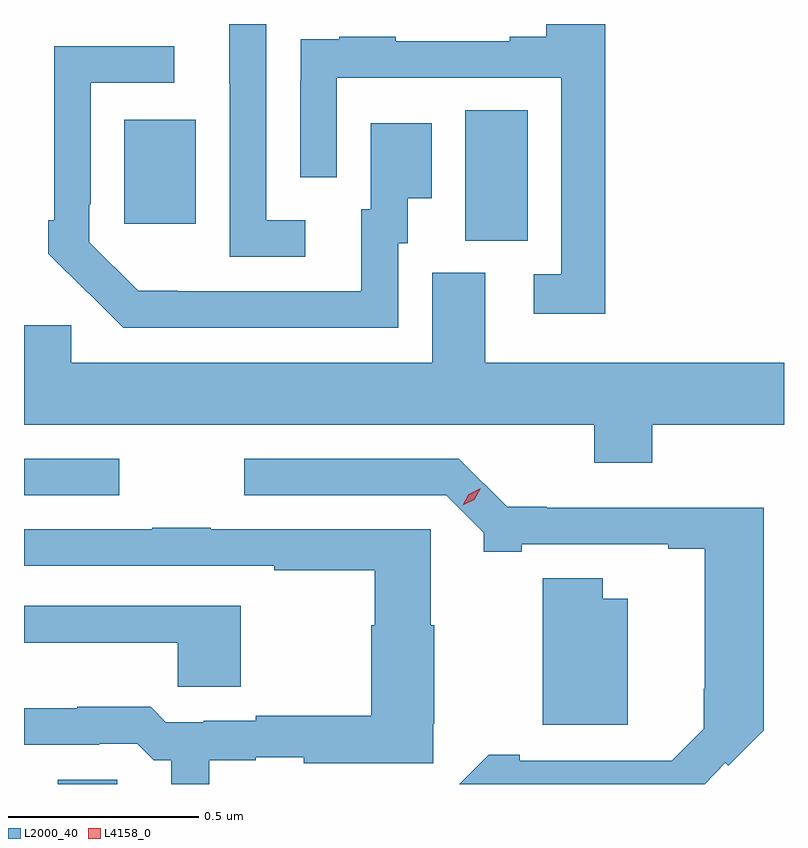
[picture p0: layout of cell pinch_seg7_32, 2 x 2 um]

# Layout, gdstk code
import gdstk
lib = gdstk.Library(unit=1e-6, precision=1e-09)
def R(c, l, rs):  # rectangles x0, y0, x1, y1
    for r in rs: c.add(gdstk.rectangle(r[:2], r[2:], *l))
def P(c, l, *ps):  # polygons
    for p in ps: c.add(gdstk.Polygon(p, *l))
L2000_40 = (2000, 40)
L4158_0 = (4158, 0)

pinch_seg7_32 = lib.new_cell('pinch_seg7_32')
R(pinch_seg7_32, L2000_40, [(1061.836,1058.279,1061.992,1058.29), (1061.747,1059.039,1061.998,1059.135), (1062.908,1059.709,1063.072,1060.052), (1062.011,1059.753,1062.199,1060.027)])
P(pinch_seg7_32, L2000_40, [(1063.277,1060.279),(1063.121,1060.279),(1063.121,1060.246),(1063.025,1060.246),(1063.025,1060.233),(1062.725,1060.233),(1062.725,1060.246),(1062.577,1060.246),(1062.577,1060.239),(1062.475,1060.239),(1062.475,1060.13),(1062.474,1060.13),(1062.474,1059.876),(1062.57,1059.876),(1062.57,1060.137),(1063.161,1060.137),(1063.161,1059.621),(1063.089,1059.621),(1063.089,1059.516),(1063.277,1059.516)],
  [(1062.487,1059.762),(1062.384,1059.762),(1062.384,1060.279),(1062.287,1060.279),(1062.287,1060.123),(1062.288,1060.123),(1062.288,1059.666),(1062.487,1059.666)],
  [(1062.732,1059.702),(1062.757,1059.702),(1062.757,1059.821),(1062.82,1059.821),(1062.82,1060.018),(1062.659,1060.018),(1062.659,1059.792),(1062.635,1059.792),(1062.635,1059.576),(1062.151,1059.576),(1062.151,1059.577),(1062.048,1059.577),(1061.919,1059.705),(1061.919,1059.805),(1061.922,1059.805),(1061.922,1060.125),(1062.142,1060.125),(1062.142,1060.221),(1061.826,1060.221),(1061.826,1059.763),(1061.811,1059.763),(1061.811,1059.675),(1061.916,1059.57),(1061.917,1059.571),(1062.008,1059.48),(1062.732,1059.48)],
  [(1063.4,1059.224),(1063.747,1059.224),(1063.747,1059.388),(1062.961,1059.388),(1062.961,1059.624),(1062.821,1059.624),(1062.821,1059.388),(1061.871,1059.388),(1061.871,1059.486),(1061.747,1059.486),(1061.747,1059.224),(1063.247,1059.224),(1063.247,1059.125),(1063.4,1059.125)],
  [(1063.593,1058.335),(1063.6,1058.327),(1063.694,1058.421),(1063.694,1059.006),(1063.123,1059.006),(1063.123,1059.008),(1063.019,1059.008),(1062.891,1059.135),(1062.327,1059.135),(1062.327,1059.039),(1062.858,1059.039),(1062.957,1058.94),(1062.957,1058.89),(1063.057,1058.89),(1063.057,1058.91),(1063.442,1058.91),(1063.442,1058.898),(1063.538,1058.898),(1063.538,1058.53),(1063.536,1058.53),(1063.536,1058.424),(1063.452,1058.34),(1063.051,1058.34),(1063.051,1058.356),(1062.97,1058.356),(1062.893,1058.279),(1063.538,1058.279)],
  [(1062.235,1058.342),(1062.357,1058.342),(1062.357,1058.349),(1062.483,1058.349),(1062.483,1058.333),(1062.824,1058.333),(1062.824,1058.437),(1062.826,1058.437),(1062.826,1058.697),(1062.817,1058.697),(1062.817,1058.949),(1062.239,1058.949),(1062.239,1058.954),(1062.085,1058.954),(1062.085,1058.949),(1061.747,1058.949),(1061.747,1058.853),(1062.406,1058.853),(1062.406,1058.841),(1062.67,1058.841),(1062.67,1058.697),(1062.661,1058.697),(1062.661,1058.458),(1062.357,1058.458),(1062.357,1058.445),(1062.22,1058.445),(1062.22,1058.442),(1062.12,1058.442),(1062.081,1058.482),(1061.887,1058.482),(1061.887,1058.479),(1061.747,1058.479),(1061.747,1058.382),(1061.945,1058.382),(1061.945,1058.385),(1062.045,1058.385),(1062.089,1058.342),(1062.134,1058.342),(1062.134,1058.279),(1062.235,1058.279)],
  [(1063.336,1058.767),(1063.27,1058.767),(1063.27,1058.821),(1063.112,1058.821),(1063.112,1058.435),(1063.336,1058.435)],
  [(1062.318,1058.748),(1061.747,1058.748),(1061.747,1058.651),(1062.152,1058.651),(1062.152,1058.535),(1062.318,1058.535)])
P(pinch_seg7_32, L4158_0, [(1062.901,1059.012),(1062.901,1059.012),(1062.918,1059.042),(1062.949,1059.057),(1062.949,1059.057),(1062.949,1059.057),(1062.932,1059.027),(1062.901,1059.012)])

lib.write_gds('pinch_seg7_32.gds')
